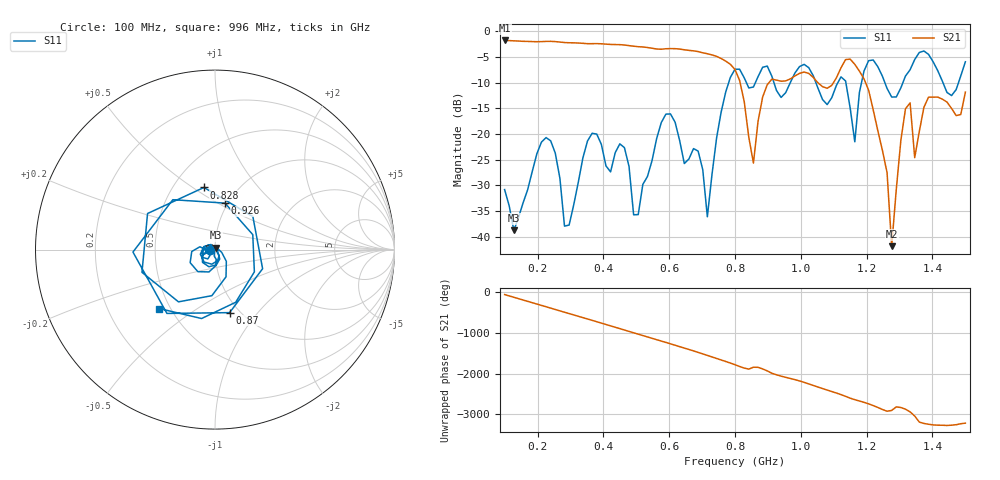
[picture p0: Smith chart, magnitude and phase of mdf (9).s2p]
! NanoVNA-App
! Date: 2025-09-25 15:38:30
! Start: 100MHz Stop: 1,5GHz Points: 101
! S-Parameter data: F S11 S21 S12 S22
# Hz S RI R 50
!  Frequency  S11_Real  S11_Imag  S21_Real  S21_Imag  S12_Real  S12_Imag  S22_Real  S22_Imag
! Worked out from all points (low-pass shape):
!   101 points, 100 MHz to 1.5 GHz, reference 50 ohm
!   highest |S21| = -1.80 dB at 100 MHz (marker M1); lowest = -41.9 dB at 1.276 GHz (marker M2)
!   |S21| within 3 dB of the highest: start of sweep to 739.3 MHz
!   lowest |S11| = -38.8 dB at 128 MHz (marker M3), VSWR 1.02, Z = 50.4 + j1.09 ohm
!   |S11| at or under -10 dB: start of sweep to 781 MHz; 918.2 MHz to 968.2 MHz (49.99 MHz wide, 5.3 % of centre); 1.046 GHz to 1.113 GHz (67.17 MHz wide, 6.22 % of centre) (the widest 3 of 7)
!   S12 and S22 are empty: the file has one direction only
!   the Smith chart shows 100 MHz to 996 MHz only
!   S11 on the Smith chart (normalised r, x): 100 MHz: 0.94, -0.01; 828 MHz: 0.70, +0.56; 870 MHz: 0.90, -0.73; 926 MHz: 0.97, +0.54; 996 MHz: 0.44, -0.36
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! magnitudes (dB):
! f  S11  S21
! 100 MHz  -30.9  -1.8
! 128 MHz  -38.8  -1.9
! 212 MHz  -21.6  -2.0
! 282 MHz  -38.0  -2.2
! 338 MHz  -24.6  -2.4
! 464 MHz  -22.7  -2.7
! 506 MHz  -35.7  -3.0
! 576 MHz  -17.8  -3.5
! 716 MHz  -36.1  -4.4
! 800 MHz  -7.4  -7.5
! 828 MHz  -9.1  -13.7
! 856 MHz  -10.9  -25.7
! 870 MHz  -8.9  -17.6
! 926 MHz  -11.5  -9.5
! 996 MHz  -6.9  -8.2
! 1.038 GHz  -8.7  -9.0
! 1.164 GHz  -21.5  -6.5
! 1.192 GHz  -7.8  -9.3
! 1.276 GHz  -12.8  -41.9
! 1.318 GHz  -8.7  -15.1
! 1.346 GHz  -5.5  -24.6
! 1.5 GHz  -6.0  -11.9
